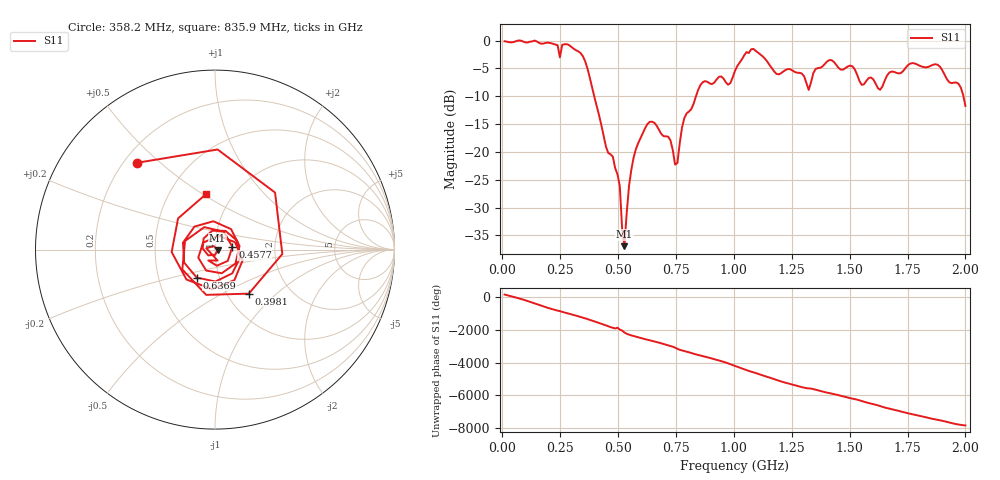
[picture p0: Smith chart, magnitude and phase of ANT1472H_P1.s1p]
!Created with skrf (http://scikit-rf.org).
# Hz S RI R 50.0
!freq ReS11 ImS11
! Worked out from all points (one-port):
!   201 points, 10 MHz to 2 GHz, reference 50 ohm
!   lowest |S11| = -36.9 dB at 527.4 MHz (marker M1), VSWR 1.03, Z = 51.4 - j0.209 ohm
!   |S11| at or under -10 dB: 396.9 MHz to 836.5 MHz (439.6 MHz wide, 71.3 % of centre); 1.991405 GHz to end of sweep
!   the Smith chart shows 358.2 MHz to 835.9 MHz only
!   S11 on the Smith chart (normalised r, x): 358.2 MHz: 0.25, +0.42; 398.1 MHz: 1.26, -0.68; 457.8 MHz: 1.21, +0.04; 636.9 MHz: 0.78, -0.25; 835.9 MHz: 0.75, +0.52
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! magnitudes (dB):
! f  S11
! 10 MHz  -0.1
! 248.8 MHz  -3.0
! 258.8 MHz  -0.8
! 358.2 MHz  -3.8
! 398.1 MHz  -10.2
! 457.8 MHz  -20.2
! 507.5 MHz  -26.2
! 517.5 MHz  -33.8
! 527.4 MHz  -36.9
! 547.3 MHz  -26.1
! 567.2 MHz  -21.0
! 636.9 MHz  -14.6
! 716.5 MHz  -17.3
! 756.2 MHz  -22.0
! 786.1 MHz  -13.9
! 835.9 MHz  -10.1
! 1.005 GHz  -5.4
! 1.085 GHz  -1.5
! 1.184 GHz  -6.0
! 1.254 GHz  -5.4
! 1.323 GHz  -8.9
! 1.413 GHz  -3.5
! 1.502 GHz  -4.5
! 1.632 GHz  -8.8
! 1.751 GHz  -4.4
! 1.881 GHz  -4.3
! 1.97 GHz  -7.8
! 2 GHz  -11.7
